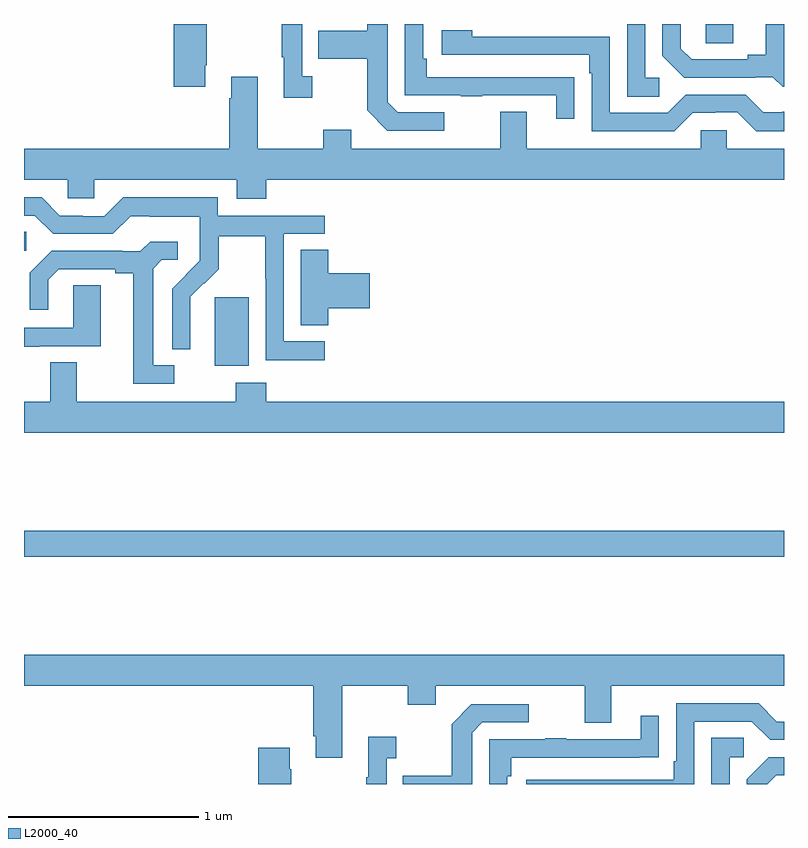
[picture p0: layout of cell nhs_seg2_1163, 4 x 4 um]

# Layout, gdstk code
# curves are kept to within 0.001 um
import gdstk
lib = gdstk.Library(unit=1e-6, precision=1e-09)
def R(c, l, rs):  # rectangles x0, y0, x1, y1
    for r in rs: c.add(gdstk.rectangle(r[:2], r[2:], *l))
def P(c, l, *ps):  # polygons
    for p in ps: c.add(gdstk.Polygon(p, *l))
L2000_40 = (2000, 40)

nhs_seg2_1163 = lib.new_cell('nhs_seg2_1163')
R(nhs_seg2_1163, L2000_40, [(171,634.996,175,635.132), (172.004,636.002,172.183,636.363), (171,636.606,171.013,636.707), (174.588,637.699,174.733,637.8)])
P(nhs_seg2_1163, L2000_40, [(175,637.8),(174.905,637.8),(174.905,637.637),(174.809,637.637),(174.809,637.614),(174.514,637.614),(174.457,637.671),(174.457,637.8),(174.36,637.8),(174.36,637.634),(174.476,637.518),(174.848,637.518),(174.848,637.521),(174.942,637.521),(174.994,637.469),(175,637.469)],
  [(174.343,637.518),(174.27,637.518),(174.27,637.8),(174.174,637.8),(174.174,637.417),(174.343,637.417)],
  [(173.897,637.52),(173.795,637.52),(173.795,637.521),(173.12,637.521),(173.12,637.618),(173.1,637.618),(173.1,637.8),(173.004,637.8),(173.004,637.425),(173.299,637.425),(173.299,637.42),(173.411,637.42),(173.411,637.425),(173.801,637.425),(173.801,637.302),(173.897,637.302)],
  [(171.955,637.582),(171.963,637.582),(171.963,637.8),(171.788,637.8),(171.788,637.47),(171.955,637.47)],
  [(172.516,637.526),(172.464,637.526),(172.464,637.8),(172.356,637.8),(172.356,637.625),(172.367,637.625),(172.367,637.413),(172.516,637.413)],
  [(173.212,637.335),(172.968,637.335),(172.914,637.389),(172.914,637.8),(172.806,637.8),(172.806,637.765),(172.549,637.765),(172.549,637.618),(172.806,637.618),(172.806,637.345),(172.911,637.239),(173.212,637.239)],
  [(175,637.339),(174.991,637.339),(174.991,637.335),(174.891,637.335),(174.798,637.428),(174.483,637.428),(174.387,637.332),(174.084,637.332),(174.084,637.734),(173.36,637.734),(173.36,637.768),(173.199,637.768),(173.199,637.638),(173.975,637.638),(173.975,637.541),(173.988,637.541),(173.988,637.236),(174.423,637.236),(174.519,637.332),(174.638,637.332),(174.638,637.335),(174.753,637.335),(174.853,637.235),(175,637.235)],
  [(172.121,636.881),(172.274,636.881),(172.274,636.98),(175,636.98),(175,637.144),(174.699,637.144),(174.699,637.242),(174.561,637.242),(174.561,637.144),(173.647,637.144),(173.647,637.339),(173.507,637.339),(173.507,637.144),(172.723,637.144),(172.723,637.243),(172.576,637.243),(172.576,637.144),(172.231,637.144),(172.231,637.522),(172.091,637.522),(172.091,637.409),(172.079,637.409),(172.079,637.144),(171,637.144),(171,636.98),(171.231,636.98),(171.231,636.882),(171.369,636.882),(171.369,636.98),(172.121,636.98)],
  [(172.582,636.129),(172.368,636.129),(172.368,636.696),(172.582,636.696),(172.582,636.792),(172.02,636.792),(172.02,636.889),(171.523,636.889),(171.423,636.789),(171.308,636.789),(171.308,636.792),(171.189,636.792),(171.093,636.888),(171,636.888),(171,636.792),(171.057,636.792),(171.153,636.696),(171.468,636.696),(171.561,636.789),(171.661,636.789),(171.661,636.785),(171.924,636.785),(171.924,636.651),(171.926,636.651),(171.926,636.554),(171.78,636.406),(171.78,636.088),(171.876,636.088),(171.875,636.365),(171.945,636.435),(171.948,636.432),(172.025,636.509),(172.025,636.684),(172.27,636.684),(172.27,636.46),(172.272,636.46),(172.272,636.031),(172.582,636.031)],
  [(171.79,636.003),(171.679,636.003),(171.679,636.511),(171.726,636.558),(171.808,636.558),(171.808,636.655),(171.664,636.655),(171.612,636.603),(171.518,636.603),(171.518,636.606),(171.146,636.606),(171.03,636.49),(171.03,636.297),(171.127,636.297),(171.127,636.453),(171.184,636.51),(171.479,636.51),(171.479,636.488),(171.575,636.488),(171.575,635.907),(171.79,635.907)],
  [(172.601,636.305),(172.819,636.305),(172.819,636.488),(172.601,636.488),(172.601,636.611),(172.457,636.611),(172.457,636.214),(172.601,636.214)],
  [(171.079,636.105),(171.403,636.105),(171.403,636.425),(171.258,636.425),(171.258,636.201),(171,636.201),(171,636.101),(171.079,636.101)],
  [(175,635.812),(172.274,635.812),(172.274,635.911),(172.114,635.911),(172.114,635.812),(171.277,635.812),(171.277,636.02),(171.137,636.02),(171.137,635.812),(171,635.812),(171,635.648),(175,635.648)],
  [(172.675,634.316),(173.02,634.316),(173.02,634.217),(173.167,634.217),(173.167,634.316),(173.951,634.316),(173.951,634.122),(174.091,634.122),(174.091,634.316),(175,634.316),(175,634.48),(171,634.48),(171,634.316),(172.523,634.316),(172.523,634.051),(172.535,634.051),(172.535,633.939),(172.675,633.939)],
  [(174.528,634.128),(174.831,634.128),(174.927,634.032),(175,634.032),(175,634.128),(174.963,634.128),(174.867,634.224),(174.432,634.224),(174.432,633.919),(174.419,633.919),(174.419,633.822),(173.643,633.822),(173.643,633.8),(174.528,633.8)],
  [(173.358,634.071),(173.412,634.125),(173.656,634.125),(173.656,634.221),(173.355,634.221),(173.25,634.115),(173.25,633.843),(172.993,633.843),(172.993,633.8),(173.358,633.8)],
  [(173.544,633.842),(173.564,633.842),(173.564,633.939),(174.239,633.939),(174.239,633.94),(174.341,633.94),(174.341,634.159),(174.245,634.159),(174.245,634.035),(173.855,634.035),(173.855,634.04),(173.743,634.04),(173.743,634.035),(173.448,634.035),(173.448,633.8),(173.544,633.8)],
  [(172.908,633.935),(172.96,633.935),(172.96,634.048),(172.811,634.048),(172.811,633.835),(172.8,633.835),(172.8,633.8),(172.908,633.8)],
  [(174.714,633.942),(174.787,633.942),(174.787,634.043),(174.618,634.043),(174.618,633.8),(174.714,633.8)],
  [(172.407,633.878),(172.399,633.878),(172.399,633.991),(172.232,633.991),(172.232,633.8),(172.407,633.8)],
  [(174.958,633.846),(175,633.846),(175,633.942),(174.92,633.942),(174.804,633.826),(174.804,633.8),(174.912,633.8)])

lib.write_gds('nhs_seg2_1163.gds')
